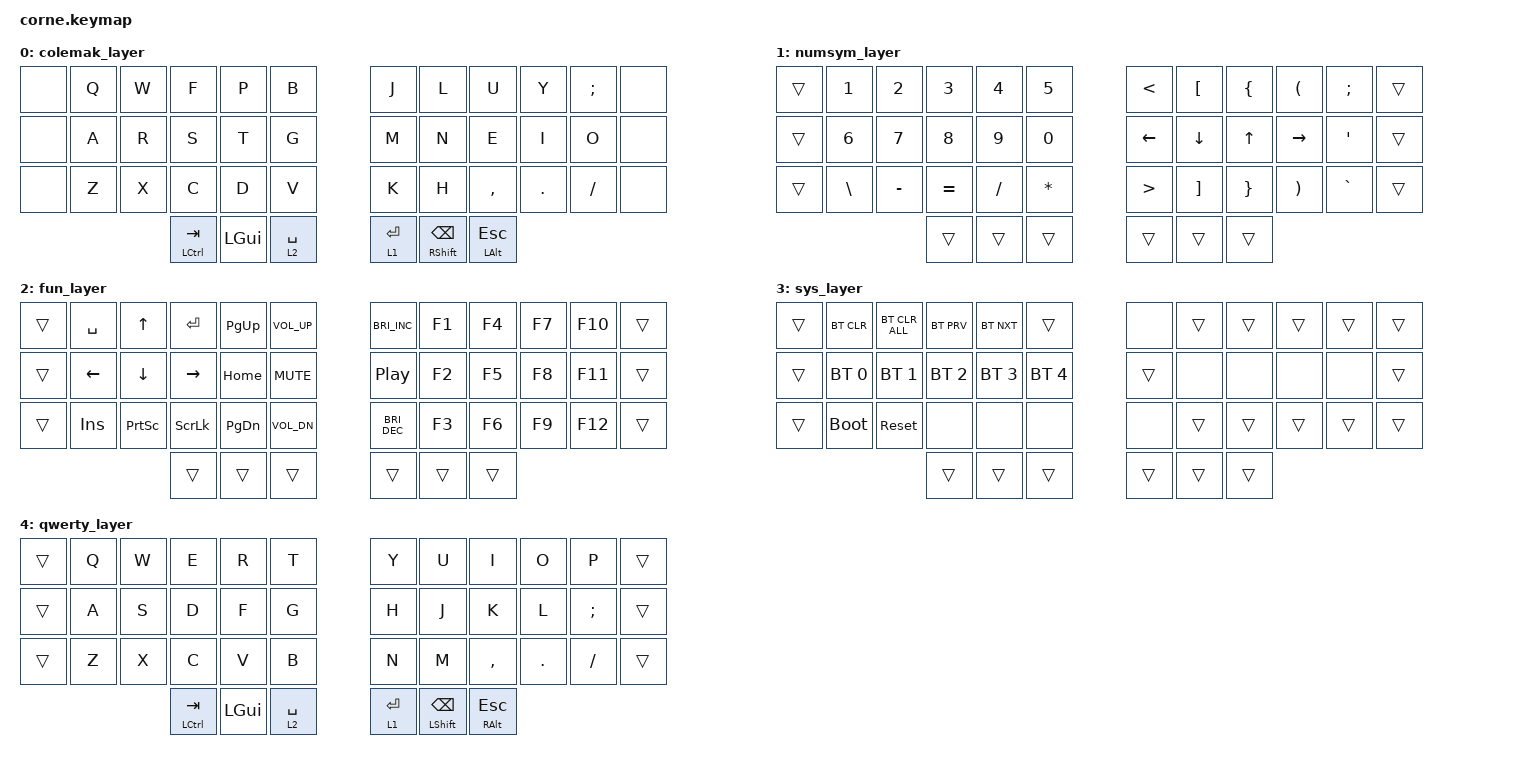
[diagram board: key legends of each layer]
/*
 * Copyright (c) 2020 The ZMK Contributors
 *
 * SPDX-License-Identifier: MIT
 */

#include <behaviors.dtsi>
#include <dt-bindings/zmk/bt.h>
#include <dt-bindings/zmk/keys.h>

kscan0: kscan {
    compatible = "zmk,kscan-gpio-matrix";
    wakeup-source;

    diode-direction = "col2row";
    row-gpios
        = <&pro_micro 4 (GPIO_ACTIVE_HIGH | GPIO_PULL_DOWN)>
        , <&pro_micro 8 (GPIO_ACTIVE_HIGH | GPIO_PULL_DOWN)>
        , <&pro_micro 6 (GPIO_ACTIVE_HIGH | GPIO_PULL_DOWN)>
        , <&pro_micro 7 (GPIO_ACTIVE_HIGH | GPIO_PULL_DOWN)>
        ;

};

&mt {
    tapping-term-ms = <400>;
    quick-tap-ms = <175>;
    require-prior-idle-ms = <150>;
    flavor = "balanced";
};

&lt { tapping-term-ms = <400>; };

/ {
    combos {
        compatible = "zmk,combos";

        combo_esc {
            timeout-ms = <50>;
            key-positions = <1 2 3>;
            bindings = <&kp ESCAPE>;
        };

        combo_bksp {
            timeout-ms = <50>;
            key-positions = <10 9 8>;
            bindings = <&kp BACKSPACE>;
        };

        combo_tab {
            bindings = <&kp TAB>;
            key-positions = <13 14 15>;
        };

        combo_shift {
            bindings = <&kp LEFT_SHIFT>;
            key-positions = <25 26 27>;
        };

        combo_delete {
            bindings = <&kp DELETE>;
            key-positions = <21 22 20>;
        };

        combo_rshift {
            bindings = <&kp RIGHT_SHIFT>;
            key-positions = <33 34 32>;
        };

        exclm {
            bindings = <&kp EXCLAMATION>;
            key-positions = <1 13>;
        };

        at {
            bindings = <&kp AT_SIGN>;
            key-positions = <2 14>;
        };

        hash {
            bindings = <&kp HASH>;
            key-positions = <3 15>;
        };

        dllr {
            bindings = <&kp DOLLAR>;
            key-positions = <4 16>;
        };

        percnt {
            bindings = <&kp PERCENT>;
            key-positions = <5 17>;
        };

        caret {
            bindings = <&kp CARET>;
            key-positions = <6 18>;
        };

        and {
            bindings = <&kp AMPERSAND>;
            key-positions = <7 19>;
        };

        str {
            bindings = <&kp ASTERISK>;
            key-positions = <8 20>;
        };

        leftparen {
            bindings = <&kp LPAR>;
            key-positions = <9 21>;
        };

        rparen {
            bindings = <&kp RPAR>;
            key-positions = <10 22>;
        };

        layout_switch {
            bindings = <&tog 4>;
            key-positions = <36 37 40 41>;
        };

        system_reset {
            bindings = <&sys_reset>;
            key-positions = <3 4 5 14>;
        };

        bootloader {
            bindings = <&bootloader>;
            key-positions = <15 16 17 26>;
        };

        system_layer_combo {
            bindings = <&mo 3>;
            key-positions = <36 37 38>;
        };
    };

    conditional_layers { compatible = "zmk,conditional-layers"; };

    keymap {
        compatible = "zmk,keymap";

        colemak_layer {
            bindings = <
&none  &kp Q  &kp W  &kp F          &kp P     &kp B          &kp J        &kp L                      &kp U             &kp Y    &kp SEMICOLON  &none
&none  &kp A  &kp R  &kp S          &kp T     &kp G          &kp M        &kp N                      &kp E             &kp I    &kp O          &none
&none  &kp Z  &kp X  &kp C          &kp D     &kp V          &kp K        &kp H                      &kp COMMA         &kp DOT  &kp FSLH       &none
                     &mt LCTRL TAB  &kp LGUI  &lt 2 SPACE    &lt 1 ENTER  &mt RIGHT_SHIFT BACKSPACE  &mt LEFT_ALT ESC
            >;
        };

        numsym_layer {
            bindings = <
&trans  &kp N1         &kp N2     &kp N3     &kp N4     &kp N5          &kp LESS_THAN     &kp LEFT_BRACKET   &kp LEFT_BRACE   &kp LEFT_PARENTHESIS   &kp SEMICOLON  &trans
&trans  &kp NUMBER_6   &kp N7     &kp N8     &kp N9     &kp NUMBER_0    &kp LEFT          &kp DOWN           &kp UP           &kp RIGHT              &kp SQT        &trans
&trans  &kp BACKSLASH  &kp MINUS  &kp EQUAL  &kp SLASH  &kp ASTERISK    &kp GREATER_THAN  &kp RIGHT_BRACKET  &kp RIGHT_BRACE  &kp RIGHT_PARENTHESIS  &kp GRAVE      &trans
                                  &trans     &trans     &trans          &trans            &trans             &trans
            >;
        };

        fun_layer {
            bindings = <
&trans  &kp SPACE  &kp UP_ARROW     &kp ENTER       &kp PAGE_UP    &kp C_VOL_UP    &kp C_BRIGHTNESS_INC  &kp F1  &kp F4  &kp F7  &kp F10  &trans
&trans  &kp LEFT   &kp DOWN         &kp RIGHT       &kp HOME       &kp C_MUTE      &kp C_PLAY_PAUSE      &kp F2  &kp F5  &kp F8  &kp F11  &trans
&trans  &kp INS    &kp PRINTSCREEN  &kp SCROLLLOCK  &kp PAGE_DOWN  &kp C_VOL_DN    &kp C_BRIGHTNESS_DEC  &kp F3  &kp F6  &kp F9  &kp F12  &trans
                                    &trans          &trans         &trans          &trans                &trans  &trans
            >;
        };

        sys_layer {
            bindings = <
&trans  &bt BT_CLR    &bt BT_CLR_ALL  &bt BT_PRV    &bt BT_NXT    &trans          &none   &trans  &trans  &trans  &trans  &trans
&trans  &bt BT_SEL 0  &bt BT_SEL 1    &bt BT_SEL 2  &bt BT_SEL 3  &bt BT_SEL 4    &trans  &none   &none   &none   &none   &trans
&trans  &bootloader   &sys_reset      &none         &none         &none           &none   &trans  &trans  &trans  &trans  &trans
                                      &trans        &trans        &trans          &trans  &trans  &trans
            >;
        };

        qwerty_layer {
            bindings = <
&trans  &kp Q  &kp W  &kp E          &kp R         &kp T          &kp Y        &kp U                     &kp I              &kp O    &kp P     &trans
&trans  &kp A  &kp S  &kp D          &kp F         &kp G          &kp H        &kp J                     &kp K              &kp L    &kp SEMI  &trans
&trans  &kp Z  &kp X  &kp C          &kp V         &kp B          &kp N        &kp M                     &kp COMMA          &kp DOT  &kp FSLH  &trans
                      &mt LCTRL TAB  &kp LEFT_GUI  &lt 2 SPACE    &lt 1 ENTER  &mt LEFT_SHIFT BACKSPACE  &mt RIGHT_ALT ESC
            >;
        };
    };
};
